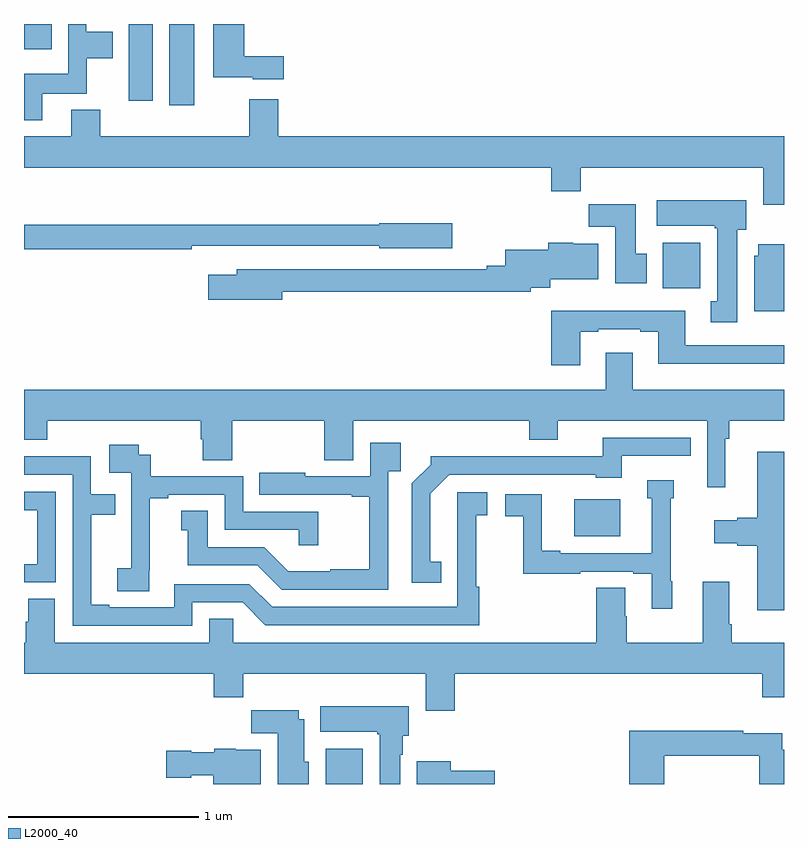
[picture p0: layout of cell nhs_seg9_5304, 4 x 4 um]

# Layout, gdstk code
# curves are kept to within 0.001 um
import gdstk
lib = gdstk.Library(unit=1e-6, precision=1e-09)
def R(c, l, rs):  # rectangles x0, y0, x1, y1
    for r in rs: c.add(gdstk.rectangle(r[:2], r[2:], *l))
def P(c, l, *ps):  # polygons
    for p in ps: c.add(gdstk.Polygon(p, *l))
L2000_40 = (2000, 40)

nhs_seg9_5304 = lib.new_cell('nhs_seg9_5304')
R(nhs_seg9_5304, L2000_40, [(420.587,1202.5,420.784,1202.686), (421.895,1203.803,422.137,1204), (422.363,1205.108,422.56,1205.35), (419.765,1206.072,419.896,1206.5), (419.552,1206.096,419.677,1206.5), (419,1206.368,419.147,1206.5)])
P(nhs_seg9_5304, L2000_40, [(419.095,1206.134),(419.331,1206.134),(419.331,1206.32),(419.467,1206.32),(419.467,1206.46),(419.328,1206.46),(419.328,1206.5),(419.232,1206.5),(419.232,1206.238),(419,1206.238),(419,1205.994),(419.095,1205.994)],
  [(420.367,1206.331),(420.158,1206.331),(420.158,1206.5),(419.996,1206.5),(419.996,1206.221),(420.204,1206.221),(420.204,1206.209),(420.367,1206.209)],
  [(423,1205.908),(420.338,1205.908),(420.338,1206.103),(420.185,1206.103),(420.185,1205.908),(419.402,1205.908),(419.402,1206.049),(419.249,1206.049),(419.249,1205.908),(419,1205.908),(419,1205.744),(421.775,1205.744),(421.775,1205.62),(421.931,1205.62),(421.931,1205.744),(422.891,1205.744),(422.891,1205.55),(423,1205.55)],
  [(422.755,1205.418),(422.8,1205.418),(422.8,1205.572),(422.331,1205.572),(422.331,1205.438),(422.635,1205.438),(422.635,1205.425),(422.648,1205.425),(422.648,1205.042),(422.615,1205.042),(422.615,1204.929),(422.755,1204.929)],
  [(422.278,1205.292),(422.221,1205.292),(422.221,1205.551),(421.972,1205.551),(421.972,1205.432),(422.111,1205.432),(422.111,1205.136),(422.278,1205.136)],
  [(419.882,1205.334),(420.87,1205.334),(420.87,1205.321),(421.255,1205.321),(421.255,1205.451),(420.87,1205.451),(420.87,1205.443),(419,1205.443),(419,1205.314),(419.882,1205.314)],
  [(420.358,1205.092),(421.667,1205.092),(421.667,1205.111),(421.771,1205.111),(421.771,1205.156),(422.023,1205.156),(422.023,1205.344),(421.89,1205.344),(421.89,1205.35),(421.76,1205.35),(421.76,1205.311),(421.532,1205.311),(421.532,1205.228),(421.436,1205.228),(421.436,1205.208),(420.119,1205.208),(420.119,1205.179),(419.97,1205.179),(419.97,1205.05),(420.358,1205.05)],
  [(423,1205.341),(422.864,1205.341),(422.864,1205.28),(422.843,1205.28),(422.843,1204.988),(423,1204.988)],
  [(421.927,1204.881),(422.023,1204.881),(422.023,1204.893),(422.243,1204.893),(422.243,1204.881),(422.339,1204.881),(422.339,1204.712),(423,1204.712),(423,1204.809),(422.479,1204.809),(422.479,1204.99),(421.775,1204.99),(421.775,1204.704),(421.927,1204.704)],
  [(422.692,1204.316),(422.711,1204.316),(422.711,1204.412),(423,1204.412),(423,1204.576),(422.203,1204.576),(422.203,1204.771),(422.063,1204.771),(422.063,1204.576),(419,1204.576),(419,1204.313),(419.123,1204.313),(419.123,1204.412),(419.93,1204.412),(419.93,1204.314),(419.942,1204.314),(419.942,1204.204),(420.095,1204.204),(420.095,1204.412),(420.581,1204.412),(420.581,1204.204),(420.733,1204.204),(420.733,1204.412),(421.658,1204.412),(421.658,1204.313),(421.81,1204.313),(421.81,1204.412),(422.595,1204.412),(422.595,1204.062),(422.692,1204.062)],
  [(421.196,1203.671),(421.138,1203.671),(421.138,1204.027),(421.239,1204.128),(422.01,1204.128),(422.01,1204.112),(422.146,1204.112),(422.146,1204.227),(422.51,1204.227),(422.51,1204.323),(422.047,1204.323),(422.047,1204.224),(421.574,1204.224),(421.574,1204.226),(421.14,1204.226),(421.14,1204.181),(421.041,1204.082),(421.041,1203.558),(421.196,1203.558)],
  [(420.918,1204.145),(420.983,1204.145),(420.983,1204.297),(420.822,1204.297),(420.822,1204.119),(420.481,1204.119),(420.481,1204.138),(420.238,1204.138),(420.238,1204.023),(420.725,1204.023),(420.725,1204.011),(420.817,1204.011),(420.817,1203.631),(420.611,1203.631),(420.611,1203.619),(420.392,1203.619),(420.264,1203.747),(419.968,1203.747),(419.968,1203.938),(419.828,1203.938),(419.828,1203.835),(419.861,1203.835),(419.861,1203.651),(420.228,1203.651),(420.357,1203.522),(420.918,1203.522)],
  [(419.66,1203.625),(419.662,1203.625),(419.662,1204.003),(419.758,1204.003),(419.758,1204.023),(420.057,1204.023),(420.057,1203.837),(420.447,1203.837),(420.447,1203.756),(420.548,1203.756),(420.548,1203.933),(420.153,1203.933),(420.153,1204.119),(419.666,1204.119),(419.666,1204.233),(419.604,1204.233),(419.604,1204.285),(419.448,1204.285),(419.448,1204.137),(419.565,1204.137),(419.565,1203.833),(419.564,1203.833),(419.564,1203.636),(419.49,1203.636),(419.49,1203.514),(419.66,1203.514)],
  [(423,1204.249),(422.858,1204.249),(422.858,1203.902),(422.754,1203.902),(422.754,1203.889),(422.634,1203.889),(422.634,1203.767),(422.754,1203.767),(422.754,1203.755),(422.858,1203.755),(422.858,1203.414),(423,1203.414)],
  [(419.886,1203.456),(420.15,1203.456),(420.27,1203.336),(421.397,1203.336),(421.397,1203.539),(421.38,1203.539),(421.38,1203.915),(421.438,1203.915),(421.438,1204.036),(421.28,1204.036),(421.281,1203.432),(420.306,1203.432),(420.186,1203.552),(419.79,1203.552),(419.79,1203.429),(419.449,1203.429),(419.449,1203.444),(419.353,1203.444),(419.353,1203.918),(419.48,1203.918),(419.48,1204.026),(419.352,1204.026),(419.352,1204.224),(419,1204.224),(419,1204.128),(419.256,1204.128),(419.256,1203.333),(419.886,1203.333)],
  [(422.413,1203.567),(422.403,1203.567),(422.403,1204.005),(422.419,1204.005),(422.419,1204.099),(422.279,1204.099),(422.279,1204.005),(422.303,1204.005),(422.303,1203.714),(421.822,1203.714),(421.822,1203.727),(421.726,1203.727),(421.726,1204.026),(421.533,1204.026),(421.533,1203.91),(421.627,1203.91),(421.627,1203.606),(421.928,1203.606),(421.928,1203.618),(422.207,1203.618),(422.207,1203.606),(422.303,1203.606),(422.303,1203.423),(422.413,1203.423)],
  [(419.166,1204.038),(419,1204.038),(419,1203.942),(419.07,1203.942),(419.07,1203.657),(419,1203.657),(419,1203.561),(419.166,1203.561)],
  [(421.268,1203.08),(422.885,1203.08),(422.885,1202.956),(423,1202.956),(423,1203.244),(422.726,1203.244),(422.726,1203.34),(422.713,1203.34),(422.713,1203.565),(422.573,1203.565),(422.573,1203.244),(422.172,1203.244),(422.172,1203.383),(422.164,1203.383),(422.164,1203.533),(422.012,1203.533),(422.012,1203.244),(420.102,1203.244),(420.102,1203.371),(419.975,1203.371),(419.975,1203.244),(419.161,1203.244),(419.161,1203.476),(419.022,1203.476),(419.022,1203.353),(419.009,1203.353),(419.009,1203.244),(419,1203.244),(419,1203.08),(419.999,1203.08),(419.999,1202.956),(420.155,1202.956),(420.155,1203.08),(421.115,1203.08),(421.115,1202.886),(421.268,1202.886)],
  [(420.979,1202.654),(420.994,1202.654),(420.994,1202.754),(421.024,1202.754),(421.024,1202.908),(420.56,1202.908),(420.56,1202.774),(420.859,1202.774),(420.859,1202.761),(420.872,1202.761),(420.872,1202.5),(420.979,1202.5)],
  [(420.499,1202.616),(420.475,1202.616),(420.475,1202.842),(420.445,1202.842),(420.445,1202.887),(420.196,1202.887),(420.196,1202.768),(420.335,1202.768),(420.335,1202.5),(420.499,1202.5)],
  [(422.369,1202.65),(422.87,1202.65),(422.87,1202.5),(423,1202.5),(423,1202.68),(422.992,1202.68),(422.992,1202.768),(422.786,1202.768),(422.786,1202.779),(422.186,1202.779),(422.186,1202.5),(422.369,1202.5)],
  [(420.247,1202.68),(420.114,1202.68),(420.114,1202.686),(420,1202.686),(420,1202.668),(419.88,1202.668),(419.88,1202.676),(419.748,1202.676),(419.748,1202.534),(419.88,1202.534),(419.88,1202.546),(419.996,1202.546),(419.996,1202.5),(420.247,1202.5)],
  [(421.477,1202.57),(421.246,1202.57),(421.246,1202.62),(421.067,1202.62),(421.067,1202.5),(421.477,1202.5)])

lib.write_gds('nhs_seg9_5304.gds')
